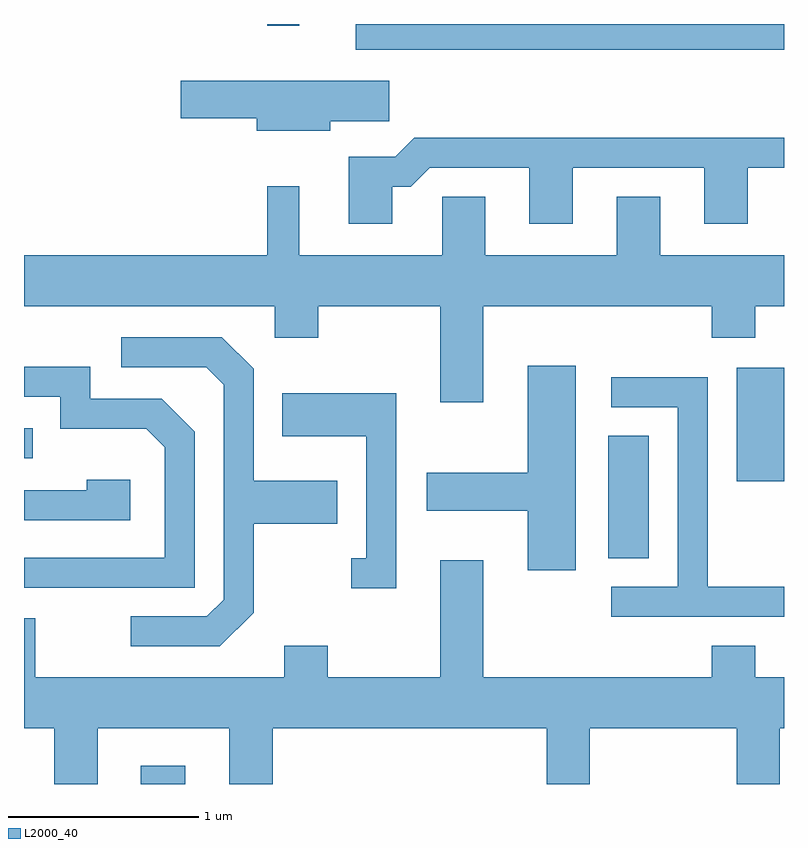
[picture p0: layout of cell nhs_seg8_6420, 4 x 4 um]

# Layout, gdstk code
import gdstk
lib = gdstk.Library(unit=1e-6, precision=1e-09)
def R(c, l, rs):  # rectangles x0, y0, x1, y1
    for r in rs: c.add(gdstk.rectangle(r[:2], r[2:], *l))
def P(c, l, *ps):  # polygons
    for p in ps: c.add(gdstk.Polygon(p, *l))
L2000_40 = (2000, 40)

nhs_seg8_6420 = lib.new_cell('nhs_seg8_6420')
R(nhs_seg8_6420, L2000_40, [(378.226,1838.342,378.459,1838.439), (380.686,1839.531,380.899,1840.174), (381.361,1839.936,381.611,1840.534), (377.611,1840.056,377.658,1840.214), (379.356,1842.206,381.611,1842.342), (378.891,1842.333,379.059,1842.342)])
P(nhs_seg8_6420, L2000_40, [(379.224,1841.831),(379.534,1841.831),(379.534,1842.044),(378.436,1842.044),(378.436,1841.846),(378.836,1841.846),(378.836,1841.781),(379.224,1841.781)],
  [(379.549,1841.486),(379.647,1841.486),(379.747,1841.586),(380.271,1841.586),(380.271,1841.291),(380.499,1841.291),(380.499,1841.586),(381.191,1841.586),(381.191,1841.291),(381.419,1841.291),(381.419,1841.586),(381.611,1841.586),(381.611,1841.744),(379.664,1841.744),(379.564,1841.644),(379.321,1841.644),(379.321,1841.291),(379.549,1841.291)],
  [(380.029,1840.856),(381.231,1840.856),(381.231,1840.691),(381.459,1840.691),(381.459,1840.856),(381.611,1840.856),(381.611,1841.124),(380.959,1841.124),(380.959,1841.434),(380.731,1841.434),(380.731,1841.124),(380.039,1841.124),(380.039,1841.434),(379.811,1841.434),(379.811,1841.124),(379.059,1841.124),(379.059,1841.488),(378.891,1841.488),(378.891,1841.124),(377.611,1841.124),(377.611,1840.856),(378.931,1840.856),(378.931,1840.691),(379.159,1840.691),(379.159,1840.856),(379.801,1840.856),(379.801,1840.351),(380.029,1840.351)],
  [(378.819,1839.244),(378.819,1839.711),(379.259,1839.711),(379.259,1839.939),(378.819,1839.939),(378.819,1840.527),(378.652,1840.694),(378.123,1840.694),(378.123,1840.536),(378.569,1840.536),(378.661,1840.444),(378.661,1839.312),(378.574,1839.224),(378.173,1839.224),(378.173,1839.066),(378.642,1839.066)],
  [(380.514,1840.544),(380.261,1840.544),(380.261,1839.979),(379.731,1839.979),(379.731,1839.781),(380.261,1839.781),(380.261,1839.466),(380.514,1839.466)],
  [(378.509,1840.197),(378.337,1840.369),(377.959,1840.369),(377.959,1840.539),(377.611,1840.539),(377.611,1840.381),(377.801,1840.381),(377.801,1840.211),(378.254,1840.211),(378.351,1840.114),(378.351,1839.534),(377.611,1839.534),(377.611,1839.376),(378.509,1839.376)],
  [(381.611,1839.379),(381.209,1839.379),(381.209,1840.484),(380.703,1840.484),(380.703,1840.326),(381.051,1840.326),(381.051,1839.379),(380.703,1839.379),(380.703,1839.221),(381.611,1839.221)],
  [(379.569,1840.399),(378.971,1840.399),(378.971,1840.171),(379.411,1840.171),(379.411,1839.529),(379.333,1839.529),(379.333,1839.371),(379.569,1839.371)],
  [(378.169,1839.944),(377.941,1839.944),(377.941,1839.889),(377.611,1839.889),(377.611,1839.731),(378.169,1839.731)],
  [(377.999,1838.636),(378.691,1838.636),(378.691,1838.342),(378.919,1838.342),(378.919,1838.636),(380.361,1838.636),(380.361,1838.342),(380.589,1838.342),(380.589,1838.636),(381.361,1838.636),(381.361,1838.342),(381.589,1838.342),(381.589,1838.636),(381.611,1838.636),(381.611,1838.904),(381.459,1838.904),(381.459,1839.069),(381.231,1839.069),(381.231,1838.904),(380.029,1838.904),(380.029,1839.519),(379.801,1839.519),(379.801,1838.904),(379.209,1838.904),(379.209,1839.069),(378.981,1839.069),(378.981,1838.904),(377.669,1838.904),(377.669,1839.214),(377.611,1839.214),(377.611,1838.636),(377.771,1838.636),(377.771,1838.342),(377.999,1838.342)])

lib.write_gds('nhs_seg8_6420.gds')
